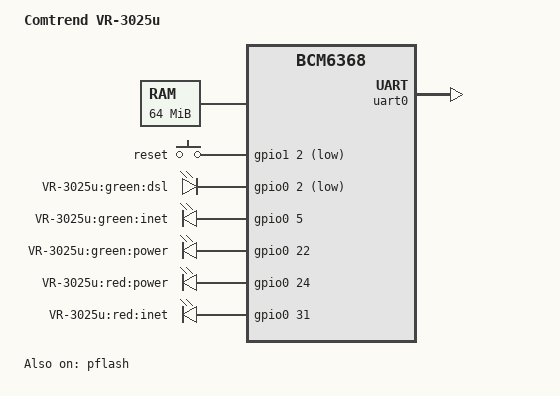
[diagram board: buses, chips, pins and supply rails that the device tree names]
/dts-v1/;

#include "bcm6368.dtsi"

/ {
	compatible = "comtrend,vr-3025u", "brcm,bcm6368";
	model = "Comtrend VR-3025u";

	memory@0 {
		device_type = "memory";
		reg = <0x00000000 0x04000000>;
	};

	chosen {
		bootargs = "earlycon";
		stdout-path = "uart0:115200";
	};

	gpio-keys-polled {
		compatible = "gpio-keys-polled";
		#address-cells = <1>;
		#size-cells = <0>;
		poll-interval = <20>;
		debounce-interval = <60>;

		reset {
			label = "reset";
			gpios = <&gpio1 2 GPIO_ACTIVE_LOW>;
			linux,code = <KEY_RESTART>;
		};
	};

	gpio-leds {
		compatible = "gpio-leds";

		dsl_green {
			label = "VR-3025u:green:dsl";
			gpios = <&gpio0 2 GPIO_ACTIVE_LOW>;
		};
		inet_green {
			label = "VR-3025u:green:inet";
			gpios = <&gpio0 5 GPIO_ACTIVE_HIGH>;
		};
		power_green {
			label = "VR-3025u:green:power";
			gpios = <&gpio0 22 GPIO_ACTIVE_HIGH>;
			default-state = "on";
		};
		power_red {
			label = "VR-3025u:red:power";
			gpios = <&gpio0 24 GPIO_ACTIVE_HIGH>;
		};
		inet_red {
			label = "VR-3025u:red:inet";
			gpios = <&gpio0 31 GPIO_ACTIVE_HIGH>;
		};
	};
};

&pflash {
	status = "ok";

	partitions {
		cfe@0 {
			label = "cfe";
			reg = <0x0000000 0x0020000>;
			read-only;
		};
		linux@20000 {
			label = "linux";
			reg = <0x0020000 0x1fc0000>;
		};
		nvram@1fe0000 {
			label = "nvram";
			reg = <0x1fe0000 0x020000>;
		};
	};
};

&uart0 {
	status = "ok";
};
